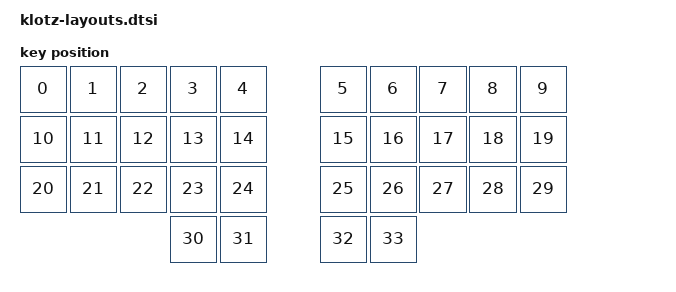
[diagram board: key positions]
/ {
    klotz_physical_layout: klotz_physical_layout {
        compatible = "zmk,physical-layout";
        display-name = "Default Layout";
        transform = <&default_transform>;
        keys
            = <&key_physical_attrs 100 100   0   0 0 0 0>
            , <&key_physical_attrs 100 100 100   0 0 0 0>
            , <&key_physical_attrs 100 100 200   0 0 0 0>
            , <&key_physical_attrs 100 100 300   0 0 0 0>
            , <&key_physical_attrs 100 100 400   0 0 0 0>
            , <&key_physical_attrs 100 100 600   0 0 0 0>
            , <&key_physical_attrs 100 100 700   0 0 0 0>
            , <&key_physical_attrs 100 100 800   0 0 0 0>
            , <&key_physical_attrs 100 100 900   0 0 0 0>
            , <&key_physical_attrs 100 100 1000  0 0 0 0>

            , <&key_physical_attrs 100 100   0 100 0 0 0>
            , <&key_physical_attrs 100 100 100 100 0 0 0>
            , <&key_physical_attrs 100 100 200 100 0 0 0>
            , <&key_physical_attrs 100 100 300 100 0 0 0>
            , <&key_physical_attrs 100 100 400 100 0 0 0>
            , <&key_physical_attrs 100 100 600 100 0 0 0>
            , <&key_physical_attrs 100 100 700 100 0 0 0>
            , <&key_physical_attrs 100 100 800 100 0 0 0>
            , <&key_physical_attrs 100 100 900 100 0 0 0>
            , <&key_physical_attrs 100 100 1000 100 0 0 0>

            , <&key_physical_attrs 100 100   0 200 0 0 0>
            , <&key_physical_attrs 100 100 100 200 0 0 0>
            , <&key_physical_attrs 100 100 200 200 0 0 0>
            , <&key_physical_attrs 100 100 300 200 0 0 0>
            , <&key_physical_attrs 100 100 400 200 0 0 0>
            , <&key_physical_attrs 100 100 600 200 0 0 0>
            , <&key_physical_attrs 100 100 700 200 0 0 0>
            , <&key_physical_attrs 100 100 800 200 0 0 0>
            , <&key_physical_attrs 100 100 900 200 0 0 0>
            , <&key_physical_attrs 100 100 1000 200 0 0 0>

            , <&key_physical_attrs 100 100 300 300 0 0 0>
            , <&key_physical_attrs 100 100 400 300 0 0 0>
            , <&key_physical_attrs 100 100 600 300 0 0 0>
            , <&key_physical_attrs 100 100 700 300 0 0 0>
            ;
    };

    klotz_position_map: klotz_position_map {
        compatible = "zmk,physical-layout-position-map";
        complete;
        klotz_map: klotz {
            physical-layout = <&klotz_physical_layout>;
            positions
                = < 0  1  2  3  4     5  6  7  8  9>
                , <10 11 12 13 14    15 16 17 18 19>
                , <20 21 22 23 24    25 26 27 28 29>
                , <            30 31    32 33      >
                ;
        };
    };
};
